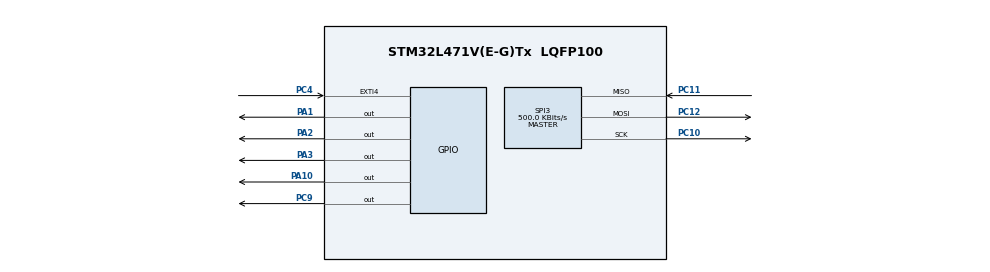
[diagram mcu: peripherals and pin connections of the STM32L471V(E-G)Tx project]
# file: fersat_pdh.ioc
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Dma.Request0=SPI3_RX
Dma.Request1=SPI3_TX
Dma.SPI3_RX.0.Direction=DMA_PERIPH_TO_MEMORY
Dma.SPI3_RX.0.Instance=DMA2_Channel1
Dma.SPI3_RX.0.MemDataAlignment=DMA_MDATAALIGN_BYTE
Dma.SPI3_RX.0.MemInc=DMA_MINC_ENABLE
Dma.SPI3_RX.0.Mode=DMA_NORMAL
Dma.SPI3_RX.0.PeriphDataAlignment=DMA_PDATAALIGN_BYTE
Dma.SPI3_RX.0.PeriphInc=DMA_PINC_DISABLE
Dma.SPI3_RX.0.Priority=DMA_PRIORITY_LOW
Dma.SPI3_TX.1.Direction=DMA_MEMORY_TO_PERIPH
Dma.SPI3_TX.1.Instance=DMA2_Channel2
Dma.SPI3_TX.1.MemDataAlignment=DMA_MDATAALIGN_BYTE
Dma.SPI3_TX.1.MemInc=DMA_MINC_ENABLE
Dma.SPI3_TX.1.Mode=DMA_NORMAL
Dma.SPI3_TX.1.PeriphDataAlignment=DMA_PDATAALIGN_BYTE
Dma.SPI3_TX.1.PeriphInc=DMA_PINC_DISABLE
Dma.SPI3_TX.1.Priority=DMA_PRIORITY_LOW
Mcu.Family=STM32L4
Mcu.Name=STM32L471V(E-G)Tx
Mcu.Package=LQFP100
NVIC.DMA2_Channel1_IRQn=true\:0\:0\:false\:false\:true\:false\:true\:true
NVIC.DMA2_Channel2_IRQn=true\:0\:0\:false\:false\:true\:false\:true\:true
NVIC.EXTI4_IRQn=true\:0\:0\:false\:false\:true\:true\:true\:true
NVIC.PriorityGroup=NVIC_PRIORITYGROUP_4
PA1.PinState=GPIO_PIN_SET
PA1.Signal=GPIO_Output
PA10.PinState=GPIO_PIN_SET
PA10.Signal=GPIO_Output
PA2.PinState=GPIO_PIN_SET
PA2.Signal=GPIO_Output
PA3.PinState=GPIO_PIN_SET
PA3.Signal=GPIO_Output
PC10.Mode=Full_Duplex_Master
PC10.Signal=SPI3_SCK
PC11.Mode=Full_Duplex_Master
PC11.Signal=SPI3_MISO
PC12.Mode=Full_Duplex_Master
PC12.Signal=SPI3_MOSI
PC4.GPIO_ModeDefaultEXTI=GPIO_MODE_IT_FALLING
PC4.Signal=GPXTI4
PC9.PinState=GPIO_PIN_SET
PC9.Signal=GPIO_Output
ProjectManager.HeapSize=0x200
ProjectManager.StackSize=0x400
ProjectManager.TargetToolchain=STM32CubeIDE
RCC.AHBFreq_Value=16000000
RCC.APB1Freq_Value=16000000
RCC.APB1TimFreq_Value=16000000
RCC.APB2Freq_Value=16000000
RCC.APB2TimFreq_Value=16000000
RCC.CortexFreq_Value=16000000
RCC.HCLKFreq_Value=16000000
RCC.HSE_VALUE=8000000
RCC.HSI_VALUE=16000000
RCC.LSE_VALUE=32768
RCC.MSI_VALUE=4000000
RCC.SYSCLKFreq_VALUE=16000000
RCC.SYSCLKSource=RCC_SYSCLKSOURCE_HSI
RCC.VCOOutputFreq_Value=32000000
SPI3.BaudRatePrescaler=SPI_BAUDRATEPRESCALER_32
SPI3.CLKPhase=SPI_PHASE_2EDGE
SPI3.CLKPolarity=SPI_POLARITY_HIGH
SPI3.CalculateBaudRate=500.0 KBits/s
SPI3.DataSize=SPI_DATASIZE_8BIT
SPI3.Direction=SPI_DIRECTION_2LINES
SPI3.Mode=SPI_MODE_MASTER
SPI3.VirtualType=VM_MASTER
TIM2.Period=16
VP_TIM2_VS_ClockSourceINT.Mode=Internal
board=custom

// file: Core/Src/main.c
/* USER CODE BEGIN Header */
/**
  ******************************************************************************
  * @file           : main.c
  * @brief          : Main program body
  ******************************************************************************
  * @attention
  *
  * Copyright (c) 2022 STMicroelectronics.
  * All rights reserved.
  *
  * This software is licensed under terms that can be found in the LICENSE file
  * in the root directory of this software component.
  * If no LICENSE file comes with this software, it is provided AS-IS.
  *
  ******************************************************************************
  */
/* USER CODE END Header */
#include "main.h"
#include "dma.h"
#include "spi.h"
#include "tim.h"
#include "gpio.h"

/* USER CODE BEGIN Includes */
#include "sensor_board.h"
/* USER CODE END Includes */

void SystemClock_Config(void);
/* USER CODE BEGIN PFP */
void wait_for_10_ms();
/* USER CODE END PFP */

int main(void)
{
  /* USER CODE BEGIN 1 */
  NVIC_DisableIRQ(ADC_DRDY_IRQn);
  /* USER CODE END 1 */

  /* MCU Configuration--------------------------------------------------------*/

  /* Reset of all peripherals, Initializes the Flash interface and the Systick. */
  LL_APB2_GRP1_EnableClock(LL_APB2_GRP1_PERIPH_SYSCFG);
  LL_APB1_GRP1_EnableClock(LL_APB1_GRP1_PERIPH_PWR);

  /* System interrupt init*/
  NVIC_SetPriorityGrouping(NVIC_PRIORITYGROUP_4);

  /* SysTick_IRQn interrupt configuration */
  NVIC_SetPriority(SysTick_IRQn, NVIC_EncodePriority(NVIC_GetPriorityGrouping(),15, 0));

  /* Configure the system clock */
  SystemClock_Config();

  /* Initialize all configured peripherals */
  MX_GPIO_Init();
  MX_TIM2_Init();
  MX_DMA_Init();
  MX_SPI3_Init();
  /* USER CODE BEGIN 2 */
  Sensor_Board sb;
  SB_Init(&sb);
  SB_Start_ADC_Sampling(&sb);
  SB_Align_Samples(&sb);
  SB_Get_Temperature_Readings(&sb);
  /* USER CODE END 2 */

  /* Infinite loop */
  while (1)
  {

  }
}

void SystemClock_Config(void)
{
  LL_FLASH_SetLatency(LL_FLASH_LATENCY_0);
  while(LL_FLASH_GetLatency()!= LL_FLASH_LATENCY_0)
  {
  }
  LL_PWR_SetRegulVoltageScaling(LL_PWR_REGU_VOLTAGE_SCALE1);
  LL_RCC_HSI_Enable();

   /* Wait till HSI is ready */
  while(LL_RCC_HSI_IsReady() != 1)
  {

  }
  LL_RCC_HSI_SetCalibTrimming(16);
  LL_RCC_SetSysClkSource(LL_RCC_SYS_CLKSOURCE_HSI);

   /* Wait till System clock is ready */
  while(LL_RCC_GetSysClkSource() != LL_RCC_SYS_CLKSOURCE_STATUS_HSI)
  {

  }
  LL_RCC_SetAHBPrescaler(LL_RCC_SYSCLK_DIV_1);
  LL_RCC_SetAPB1Prescaler(LL_RCC_APB1_DIV_1);
  LL_RCC_SetAPB2Prescaler(LL_RCC_APB2_DIV_1);

  LL_Init1msTick(16000000);

  LL_SetSystemCoreClock(16000000);
}

/* USER CODE BEGIN 4 */

void wait_for_10_ms() {
	// 16 MHz APB1 clock before timer prescaler
	LL_TIM_SetPrescaler(TIM2, 16); // 1 MHz after prescaler
	LL_TIM_SetAutoReload(TIM2, 10000); // set auto-reload value
	LL_TIM_GenerateEvent_UPDATE(TIM2); // generate update event
	LL_TIM_ClearFlag_UPDATE(TIM2);
	LL_TIM_EnableCounter(TIM2); // enable counter
	while ( !LL_TIM_IsActiveFlag_UPDATE(TIM2) ); // wait for update flag
	LL_TIM_ClearFlag_UPDATE(TIM2); // clear update flag
}

/* USER CODE END 4 */

void Error_Handler(void)
{
  __disable_irq();
  while (1)
  {
  }
}
